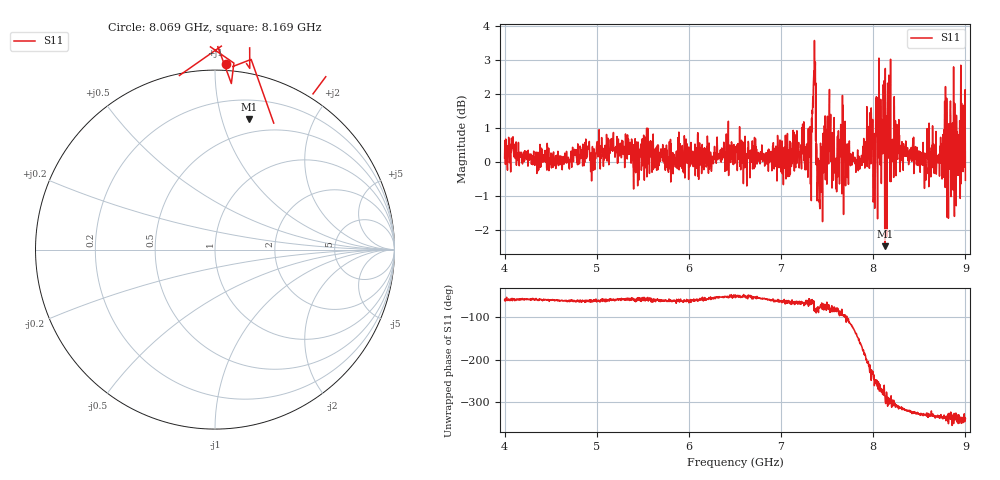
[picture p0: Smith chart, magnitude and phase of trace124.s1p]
! Created with skrf 1.8.0 (http://scikit-rf.org).
# Hz S RI R 50.0
!freq ReS11 ImS11
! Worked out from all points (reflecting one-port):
!   1601 points, 4 GHz to 9 GHz, reference 50 ohm
!   lowest |S11| = -2.5 dB at 8.125 GHz (marker M1), VSWR 7.06, Z = 18.3 + j61.2 ohm
!   phase of S11 starts at -59 deg and turns -279 deg over the sweep
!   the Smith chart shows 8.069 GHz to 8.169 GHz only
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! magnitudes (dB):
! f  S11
! 4 GHz  0.1
! 4.625 GHz  -0.2
! 5.25 GHz  0.3
! 5.875 GHz  -0.2
! 6.5 GHz  0.0
! 7.125 GHz  0.3
! 7.303 GHz  0.8
! 7.356 GHz  2.7
! 7.378 GHz  2.3
! 7.4 GHz  0.1
! 7.428 GHz  0.6
! 7.525 GHz  2.1
! 7.578 GHz  0.1
! 7.672 GHz  1.7
! 7.75 GHz  0.0
! 7.859 GHz  0.1
! 7.969 GHz  0.8
! 8.022 GHz  -0.3
! 8.053 GHz  0.7
! 8.125 GHz  -2.5
! 8.156 GHz  2.3
! 8.216 GHz  0.5
! 8.375 GHz  0.2
! 8.556 GHz  -0.8
! 8.775 GHz  1.8
! 8.9 GHz  -1.3
! 8.972 GHz  1.0
! 9 GHz  -0.5
